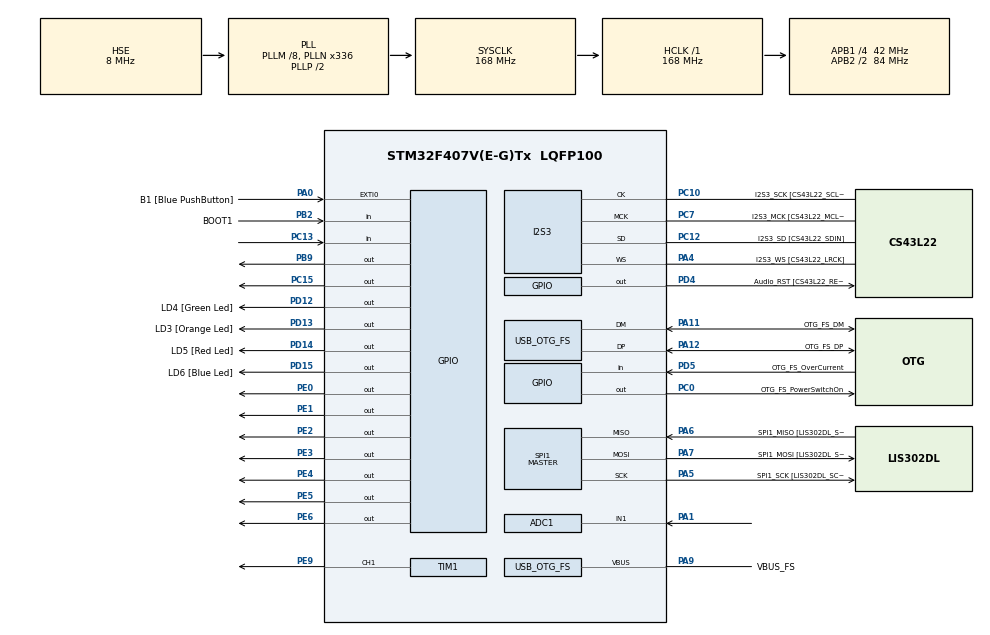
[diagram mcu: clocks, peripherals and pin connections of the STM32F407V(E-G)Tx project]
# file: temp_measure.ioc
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ADC1.Channel-1\#ChannelRegularConversion=ADC_CHANNEL_1
ADC1.NbrOfConversionFlag=1
ADC1.Rank-1\#ChannelRegularConversion=1
ADC1.SamplingTime-1\#ChannelRegularConversion=ADC_SAMPLETIME_3CYCLES
ADC1.master=1
I2S3.AudioFreq-Half_Duplex_Master=I2S_AUDIOFREQ_96K
I2S3.ErrorAudioFreq=-2.34 %
I2S3.ErrorAudioFreq-Half_Duplex_Master=0.8 %
I2S3.FullDuplexMode=I2S_FULLDUPLEXMODE_DISABLE
I2S3.Instance=SPI$Index
I2S3.RealAudioFreq=93.75 KHz
I2S3.RealAudioFreq-Half_Duplex_Master=96.774 KHz
I2S3.VirtualMode=I2S_MODE_MASTER
Mcu.Family=STM32F4
Mcu.Name=STM32F407V(E-G)Tx
Mcu.Package=LQFP100
NVIC.OTG_FS_IRQn=true\:0\:0\:false\:false\:true\:true\:true\:true
NVIC.PriorityGroup=NVIC_PRIORITYGROUP_0
PA0-WKUP.GPIO_Label=B1 [Blue PushButton]
PA0-WKUP.GPIO_ModeDefaultEXTI=GPIO_MODE_EVT_RISING
PA0-WKUP.GPIO_PuPd=GPIO_NOPULL
PA0-WKUP.Signal=GPXTI0
PA1.Signal=ADCx_IN1
PA10.GPIO_Label=OTG_FS_ID
PA10.GPIO_Mode=GPIO_MODE_AF_PP
PA10.GPIO_PuPd=GPIO_NOPULL
PA10.GPIO_Speed=GPIO_SPEED_FREQ_LOW
PA10.Signal=USB_OTG_FS_ID
PA11.GPIO_Label=OTG_FS_DM
PA11.GPIO_Mode=GPIO_MODE_AF_PP
PA11.GPIO_PuPd=GPIO_NOPULL
PA11.GPIO_Speed=GPIO_SPEED_FREQ_LOW
PA11.Mode=Host_Only
PA11.Signal=USB_OTG_FS_DM
PA12.GPIO_Label=OTG_FS_DP
PA12.GPIO_Mode=GPIO_MODE_AF_PP
PA12.GPIO_PuPd=GPIO_NOPULL
PA12.GPIO_Speed=GPIO_SPEED_FREQ_LOW
PA12.Mode=Host_Only
PA12.Signal=USB_OTG_FS_DP
PA13.GPIO_Label=SWDIO
PA13.Mode=Serial_Wire
PA13.Signal=SYS_JTMS-SWDIO
PA14.GPIO_Label=SWCLK
PA14.Mode=Serial_Wire
PA14.Signal=SYS_JTCK-SWCLK
PA4.GPIO_Label=I2S3_WS [CS43L22_LRCK]
PA4.GPIO_Mode=GPIO_MODE_AF_PP
PA4.GPIO_PuPd=GPIO_NOPULL
PA4.GPIO_Speed=GPIO_SPEED_FREQ_LOW
PA4.Mode=Half_Duplex_Master
PA4.Signal=I2S3_WS
PA5.GPIO_Label=SPI1_SCK [LIS302DL_SCL/SPC]
PA5.GPIO_Mode=GPIO_MODE_AF_PP
PA5.GPIO_PuPd=GPIO_NOPULL
PA5.GPIO_Speed=GPIO_SPEED_FREQ_LOW
PA5.Mode=Full_Duplex_Master
PA5.Signal=SPI1_SCK
PA6.GPIO_Label=SPI1_MISO [LIS302DL_SDO]
PA6.GPIO_Mode=GPIO_MODE_AF_PP
PA6.GPIO_PuPd=GPIO_NOPULL
PA6.GPIO_Speed=GPIO_SPEED_FREQ_LOW
PA6.Mode=Full_Duplex_Master
PA6.Signal=SPI1_MISO
PA7.GPIO_Label=SPI1_MOSI [LIS302DL_SDA/SDI/SDO]
PA7.GPIO_Mode=GPIO_MODE_AF_PP
PA7.GPIO_PuPd=GPIO_NOPULL
PA7.GPIO_Speed=GPIO_SPEED_FREQ_LOW
PA7.Mode=Full_Duplex_Master
PA7.Signal=SPI1_MOSI
PA9.GPIO_Label=VBUS_FS
PA9.GPIO_Mode=GPIO_MODE_INPUT
PA9.GPIO_PuPd=GPIO_NOPULL
PA9.Mode=Activate_VBUS
PA9.Signal=USB_OTG_FS_VBUS
PB10.GPIO_Label=CLK_IN [MP45DT02_CLK]
PB10.GPIO_Mode=GPIO_MODE_AF_PP
PB10.GPIO_PuPd=GPIO_NOPULL
PB10.GPIO_Speed=GPIO_SPEED_FREQ_LOW
PB10.Signal=I2S2_CK
PB2.GPIO_Label=BOOT1
PB2.GPIO_Mode=GPIO_MODE_INPUT
PB2.GPIO_PuPd=GPIO_NOPULL
PB2.Signal=GPIO_Input
PB3.GPIO_Label=SWO
PB3.Signal=SYS_JTDO-SWO
PB6.GPIO_Label=Audio_SCL [CS43L22_SCL]
PB6.GPIO_Mode=GPIO_MODE_AF_OD
PB6.GPIO_Pu=GPIO_PULLUP
PB6.GPIO_PuPd=GPIO_NOPULL
PB6.GPIO_Speed=GPIO_SPEED_FREQ_LOW
PB6.Signal=I2C1_SCL
PB9.Signal=GPIO_Output
PC0.GPIO_Label=OTG_FS_PowerSwitchOn
PC0.GPIO_PuPd=GPIO_NOPULL
PC0.GPIO_Speed=GPIO_SPEED_FREQ_LOW
PC0.PinState=GPIO_PIN_SET
PC0.Signal=GPIO_Output
PC10.GPIO_Label=I2S3_SCK [CS43L22_SCLK]
PC10.GPIO_Mode=GPIO_MODE_AF_PP
PC10.GPIO_PuPd=GPIO_NOPULL
PC10.GPIO_Speed=GPIO_SPEED_FREQ_LOW
PC10.Mode=Half_Duplex_Master
PC10.Signal=I2S3_CK
PC12.GPIO_Label=I2S3_SD [CS43L22_SDIN]
PC12.GPIO_Mode=GPIO_MODE_AF_PP
PC12.GPIO_PuPd=GPIO_NOPULL
PC12.GPIO_Speed=GPIO_SPEED_FREQ_LOW
PC12.Mode=Half_Duplex_Master
PC12.Signal=I2S3_SD
PC13-ANTI_TAMP.Signal=GPIO_Input
PC14-OSC32_IN.GPIO_Label=PC14-OSC32_IN
PC14-OSC32_IN.Signal=RCC_OSC32_IN
PC15-OSC32_OUT.Signal=GPIO_Output
PC3.GPIO_Label=PDM_OUT [MP45DT02_DOUT]
PC3.GPIO_Mode=GPIO_MODE_AF_PP
PC3.GPIO_PuPd=GPIO_NOPULL
PC3.GPIO_Speed=GPIO_SPEED_FREQ_LOW
PC3.Signal=I2S2_SD
PC7.GPIO_Label=I2S3_MCK [CS43L22_MCLK]
PC7.GPIO_Mode=GPIO_MODE_AF_PP
PC7.GPIO_PuPd=GPIO_NOPULL
PC7.GPIO_Speed=GPIO_SPEED_FREQ_LOW
PC7.Mode=Master_Clock_Activated
PC7.Signal=I2S3_MCK
PD12.GPIO_Label=LD4 [Green Led]
PD12.GPIO_PuPd=GPIO_NOPULL
PD12.GPIO_Speed=GPIO_SPEED_FREQ_LOW
PD12.Signal=GPIO_Output
PD13.GPIO_Label=LD3 [Orange Led]
PD13.GPIO_PuPd=GPIO_NOPULL
PD13.GPIO_Speed=GPIO_SPEED_FREQ_LOW
PD13.Signal=GPIO_Output
PD14.GPIO_Label=LD5 [Red Led]
PD14.GPIO_PuPd=GPIO_NOPULL
PD14.GPIO_Speed=GPIO_SPEED_FREQ_LOW
PD14.Signal=GPIO_Output
PD15.GPIO_Label=LD6 [Blue Led]
PD15.GPIO_PuPd=GPIO_NOPULL
PD15.GPIO_Speed=GPIO_SPEED_FREQ_LOW
PD15.Signal=GPIO_Output
PD4.GPIO_Label=Audio_RST [CS43L22_RESET]
PD4.GPIO_PuPd=GPIO_NOPULL
PD4.GPIO_Speed=GPIO_SPEED_FREQ_LOW
PD4.Signal=GPIO_Output
PD5.GPIO_Label=OTG_FS_OverCurrent
PD5.GPIO_Mode=GPIO_MODE_INPUT
PD5.GPIO_PuPd=GPIO_NOPULL
PD5.Signal=GPIO_Input
PE0.Signal=GPIO_Output
PE1.Signal=GPIO_Output
PE2.Signal=GPIO_Output
PE3.Signal=GPIO_Output
PE4.Signal=GPIO_Output
PE5.Signal=GPIO_Output
PE6.Signal=GPIO_Output
PE9.Signal=S_TIM1_CH1
PH0-OSC_IN.GPIO_Label=PH0-OSC_IN
PH0-OSC_IN.Mode=HSE-External-Oscillator
PH0-OSC_IN.Signal=RCC_OSC_IN
PH1-OSC_OUT.GPIO_Label=PH1-OSC_OUT
PH1-OSC_OUT.Mode=HSE-External-Oscillator
PH1-OSC_OUT.Signal=RCC_OSC_OUT
ProjectManager.HeapSize=0x200
ProjectManager.StackSize=0x400
ProjectManager.TargetToolchain=STM32CubeIDE
RCC.48MHZClocksFreq_Value=48000000
RCC.AHBFreq_Value=168000000
RCC.APB1CLKDivider=RCC_HCLK_DIV4
RCC.APB1Freq_Value=42000000
RCC.APB1TimFreq_Value=84000000
RCC.APB2CLKDivider=RCC_HCLK_DIV2
RCC.APB2Freq_Value=84000000
RCC.APB2TimFreq_Value=168000000
RCC.CortexFreq_Value=168000000
RCC.HCLKFreq_Value=168000000
RCC.HSE_VALUE=8000000
RCC.HSI_VALUE=16000000
RCC.PLLM=8
RCC.PLLN=336
RCC.PLLQ=7
RCC.SYSCLKFreq_VALUE=168000000
RCC.SYSCLKSource=RCC_SYSCLKSOURCE_PLLCLK
RCC.VCOOutputFreq_Value=336000000
SH.ADCx_IN1.0=ADC1_IN1,IN1
SH.S_TIM1_CH1.0=TIM1_CH1,PWM Generation1 CH1
SPI1.BaudRatePrescaler-Full_Duplex_Master=SPI_BAUDRATEPRESCALER_2
SPI1.CalculateBaudRate-Full_Duplex_Master=42.0 MBits/s
SPI1.Direction=SPI_DIRECTION_2LINES
SPI1.Mode=SPI_MODE_MASTER
SPI1.Mode-Full_Duplex_Master=SPI_MODE_MASTER
SPI1.VirtualType=VM_MASTER
TIM1.Channel-PWM\ Generation1\ CH1=TIM_CHANNEL_1
USB_HOST.BSP.number=1
USB_HOST.USBH_HandleTypeDef-CDC_FS=hUsbHostFS
USB_HOST.VirtualModeFS=Cdc
USB_HOST0.BSP.STBoard=false
USB_HOST0.BSP.api=Unknown
USB_HOST0.BSP.instance=PC0
USB_HOST0.BSP.ip=GPIO
USB_HOST0.BSP.mode=Output
USB_HOST0.BSP.name=Drive_VBUS_FS
USB_HOST0.BSP.solution=PC0
USB_OTG_FS.VirtualMode=Host_Only
USB_OTG_FS.phy_itface=HCD_PHY_EMBEDDED
VP_USB_HOST_VS_USB_HOST_CDC_FS.Mode=CDC_FS
board=STM32F407G-DISC1

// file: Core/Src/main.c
/* USER CODE BEGIN Header */
/**
  ******************************************************************************
  * @file           : main.c
  * @brief          : Main program body
  ******************************************************************************
  * @attention
  *
  * Copyright (c) 2023 STMicroelectronics.
  * All rights reserved.
  *
  * This software is licensed under terms that can be found in the LICENSE file
  * in the root directory of this software component.
  * If no LICENSE file comes with this software, it is provided AS-IS.
  *
  ******************************************************************************
  */
/* USER CODE END Header */
#include "main.h"
#include "usb_host.h"

ADC_HandleTypeDef hadc1;

I2S_HandleTypeDef hi2s3;

SPI_HandleTypeDef hspi1;

TIM_HandleTypeDef htim1;

void SystemClock_Config(void);
static void MX_GPIO_Init(void);
static void MX_I2S3_Init(void);
static void MX_SPI1_Init(void);
static void MX_ADC1_Init(void);
static void MX_TIM1_Init(void);
void MX_USB_HOST_Process(void);

/* USER CODE BEGIN PFP */
uint8_t Snumber[10] = { //segment number
        0x3f,  // 0
        0x06,  // 1 00000110
        0x5b,  // 2
        0x4f,  // 3 01001111
        0x66,  // 4
        0x6d,  // 5
        0x7d,  // 6 01111101
        0x07,  // 7 00000111
        0x7f,  // 8
        0x6f   // 9 // 01101111
};

/* USER CODE END PFP */

/* USER CODE BEGIN 0 */
float adc_val;
void Vread()
{
	HAL_ADC_Start(&hadc1);
	if( HAL_ADC_PollForConversion(&hadc1, 300)== HAL_OK )
		adc_val=HAL_ADC_GetValue(&hadc1);
	HAL_ADC_Stop(&hadc1);
	adc_val=3.3*(adc_val/4095);
}
void SSU(uint8_t number){
	HAL_GPIO_WritePin(GPIOE, GPIO_PIN_0, ((number>>0)&0x01));
	HAL_GPIO_WritePin(GPIOE, GPIO_PIN_1, ((number>>1)&0x01));
	HAL_GPIO_WritePin(GPIOE, GPIO_PIN_2, ((number>>2)&0x01));
	HAL_GPIO_WritePin(GPIOE, GPIO_PIN_3, ((number>>3)&0x01));
	HAL_GPIO_WritePin(GPIOE, GPIO_PIN_4, ((number>>4)&0x01));
	HAL_GPIO_WritePin(GPIOE, GPIO_PIN_5, ((number>>5)&0x01));
	HAL_GPIO_WritePin(GPIOE, GPIO_PIN_6, ((number>>6)&0x01));
}

/* USER CODE END 0 */

int main(void)
{
  /* USER CODE BEGIN 1 */
	float temp;
	int i, sw=0;

  /* USER CODE END 1 */

  /* MCU Configuration--------------------------------------------------------*/

  /* Reset of all peripherals, Initializes the Flash interface and the Systick. */
  HAL_Init();

  /* Configure the system clock */
  SystemClock_Config();

  /* Initialize all configured peripherals */
  MX_GPIO_Init();
  MX_I2S3_Init();
  MX_SPI1_Init();
  MX_USB_HOST_Init();
  MX_ADC1_Init();
  MX_TIM1_Init();

  /* Infinite loop */
  /* USER CODE BEGIN WHILE */
  while(1)
  {
	  if(HAL_GPIO_ReadPin(GPIOC, GPIO_PIN_13))
	  {
		  while(HAL_GPIO_ReadPin(GPIOC, GPIO_PIN_13));
			  sw=sw+1;
	  }
	  HAL_GPIO_WritePin(GPIOE, GPIO_PIN_0, GPIO_PIN_RESET);
	  HAL_GPIO_WritePin(GPIOE, GPIO_PIN_1, GPIO_PIN_RESET);
	  HAL_GPIO_WritePin(GPIOE, GPIO_PIN_2, GPIO_PIN_RESET);
	  HAL_GPIO_WritePin(GPIOE, GPIO_PIN_3, GPIO_PIN_RESET);
	  HAL_GPIO_WritePin(GPIOE, GPIO_PIN_4, GPIO_PIN_RESET);
	  HAL_GPIO_WritePin(GPIOE, GPIO_PIN_5, GPIO_PIN_RESET);
	  HAL_GPIO_WritePin(GPIOE, GPIO_PIN_6, GPIO_PIN_RESET);
	  HAL_GPIO_WritePin(GPIOC, GPIO_PIN_15, GPIO_PIN_RESET);
	  while (sw%2)
	    {
		  HAL_GPIO_WritePin(GPIOC, GPIO_PIN_15, GPIO_PIN_SET);
    /* USER CODE END WHILE */
    MX_USB_HOST_Process();

    /* USER CODE BEGIN 3 */
	  	  	  Vread();
	      	  HAL_Delay(250);
	      	  HAL_GPIO_WritePin(GPIOB,GPIO_PIN_9,GPIO_PIN_SET);
	      	  HAL_Delay(10);
	      	  HAL_GPIO_WritePin(GPIOB,GPIO_PIN_9,GPIO_PIN_RESET);
	      	  temp=adc_val*100;
	      	  i=temp/10;
	      	  SSU(Snumber[i]);
			  if(HAL_GPIO_ReadPin(GPIOC, GPIO_PIN_13))
			  {
				  while(HAL_GPIO_ReadPin(GPIOC, GPIO_PIN_13));
					  sw=sw+1;
			  }

	    }

  }

  /* USER CODE END 3 */
}

void SystemClock_Config(void)
{
  RCC_OscInitTypeDef RCC_OscInitStruct = {0};
  RCC_ClkInitTypeDef RCC_ClkInitStruct = {0};

  /** Configure the main internal regulator output voltage
  */
  __HAL_RCC_PWR_CLK_ENABLE();
  __HAL_PWR_VOLTAGESCALING_CONFIG(PWR_REGULATOR_VOLTAGE_SCALE1);

  /** Initializes the RCC Oscillators according to the specified parameters
  * in the RCC_OscInitTypeDef structure.
  */
  RCC_OscInitStruct.OscillatorType = RCC_OSCILLATORTYPE_HSE;
  RCC_OscInitStruct.HSEState = RCC_HSE_ON;
  RCC_OscInitStruct.PLL.PLLState = RCC_PLL_ON;
  RCC_OscInitStruct.PLL.PLLSource = RCC_PLLSOURCE_HSE;
  RCC_OscInitStruct.PLL.PLLM = 8;
  RCC_OscInitStruct.PLL.PLLN = 336;
  RCC_OscInitStruct.PLL.PLLP = RCC_PLLP_DIV2;
  RCC_OscInitStruct.PLL.PLLQ = 7;
  if (HAL_RCC_OscConfig(&RCC_OscInitStruct) != HAL_OK)
  {
    Error_Handler();
  }

  /** Initializes the CPU, AHB and APB buses clocks
  */
  RCC_ClkInitStruct.ClockType = RCC_CLOCKTYPE_HCLK|RCC_CLOCKTYPE_SYSCLK
                              |RCC_CLOCKTYPE_PCLK1|RCC_CLOCKTYPE_PCLK2;
  RCC_ClkInitStruct.SYSCLKSource = RCC_SYSCLKSOURCE_PLLCLK;
  RCC_ClkInitStruct.AHBCLKDivider = RCC_SYSCLK_DIV1;
  RCC_ClkInitStruct.APB1CLKDivider = RCC_HCLK_DIV4;
  RCC_ClkInitStruct.APB2CLKDivider = RCC_HCLK_DIV2;

  if (HAL_RCC_ClockConfig(&RCC_ClkInitStruct, FLASH_LATENCY_5) != HAL_OK)
  {
    Error_Handler();
  }
}

static void MX_ADC1_Init(void)
{

  ADC_ChannelConfTypeDef sConfig = {0};

  /** Configure the global features of the ADC (Clock, Resolution, Data Alignment and number of conversion)
  */
  hadc1.Instance = ADC1;
  hadc1.Init.ClockPrescaler = ADC_CLOCK_SYNC_PCLK_DIV4;
  hadc1.Init.Resolution = ADC_RESOLUTION_12B;
  hadc1.Init.ScanConvMode = DISABLE;
  hadc1.Init.ContinuousConvMode = DISABLE;
  hadc1.Init.DiscontinuousConvMode = DISABLE;
  hadc1.Init.ExternalTrigConvEdge = ADC_EXTERNALTRIGCONVEDGE_NONE;
  hadc1.Init.ExternalTrigConv = ADC_SOFTWARE_START;
  hadc1.Init.DataAlign = ADC_DATAALIGN_RIGHT;
  hadc1.Init.NbrOfConversion = 1;
  hadc1.Init.DMAContinuousRequests = DISABLE;
  hadc1.Init.EOCSelection = ADC_EOC_SINGLE_CONV;
  if (HAL_ADC_Init(&hadc1) != HAL_OK)
  {
    Error_Handler();
  }

  /** Configure for the selected ADC regular channel its corresponding rank in the sequencer and its sample time.
  */
  sConfig.Channel = ADC_CHANNEL_1;
  sConfig.Rank = 1;
  sConfig.SamplingTime = ADC_SAMPLETIME_3CYCLES;
  if (HAL_ADC_ConfigChannel(&hadc1, &sConfig) != HAL_OK)
  {
    Error_Handler();
  }

}

static void MX_I2S3_Init(void)
{

  hi2s3.Instance = SPI3;
  hi2s3.Init.Mode = I2S_MODE_MASTER_TX;
  hi2s3.Init.Standard = I2S_STANDARD_PHILIPS;
  hi2s3.Init.DataFormat = I2S_DATAFORMAT_16B;
  hi2s3.Init.MCLKOutput = I2S_MCLKOUTPUT_ENABLE;
  hi2s3.Init.AudioFreq = I2S_AUDIOFREQ_96K;
  hi2s3.Init.CPOL = I2S_CPOL_LOW;
  hi2s3.Init.ClockSource = I2S_CLOCK_PLL;
  hi2s3.Init.FullDuplexMode = I2S_FULLDUPLEXMODE_DISABLE;
  if (HAL_I2S_Init(&hi2s3) != HAL_OK)
  {
    Error_Handler();
  }

}

static void MX_SPI1_Init(void)
{

  /* SPI1 parameter configuration*/
  hspi1.Instance = SPI1;
  hspi1.Init.Mode = SPI_MODE_MASTER;
  hspi1.Init.Direction = SPI_DIRECTION_2LINES;
  hspi1.Init.DataSize = SPI_DATASIZE_8BIT;
  hspi1.Init.CLKPolarity = SPI_POLARITY_LOW;
  hspi1.Init.CLKPhase = SPI_PHASE_1EDGE;
  hspi1.Init.NSS = SPI_NSS_SOFT;
  hspi1.Init.BaudRatePrescaler = SPI_BAUDRATEPRESCALER_2;
  hspi1.Init.FirstBit = SPI_FIRSTBIT_MSB;
  hspi1.Init.TIMode = SPI_TIMODE_DISABLE;
  hspi1.Init.CRCCalculation = SPI_CRCCALCULATION_DISABLE;
  hspi1.Init.CRCPolynomial = 10;
  if (HAL_SPI_Init(&hspi1) != HAL_OK)
  {
    Error_Handler();
  }

}

static void MX_TIM1_Init(void)
{

  TIM_MasterConfigTypeDef sMasterConfig = {0};
  TIM_OC_InitTypeDef sConfigOC = {0};
  TIM_BreakDeadTimeConfigTypeDef sBreakDeadTimeConfig = {0};

  htim1.Instance = TIM1;
  htim1.Init.Prescaler = 0;
  htim1.Init.CounterMode = TIM_COUNTERMODE_UP;
  htim1.Init.Period = 65535;
  htim1.Init.ClockDivision = TIM_CLOCKDIVISION_DIV1;
  htim1.Init.RepetitionCounter = 0;
  htim1.Init.AutoReloadPreload = TIM_AUTORELOAD_PRELOAD_DISABLE;
  if (HAL_TIM_PWM_Init(&htim1) != HAL_OK)
  {
    Error_Handler();
  }
  sMasterConfig.MasterOutputTrigger = TIM_TRGO_RESET;
  sMasterConfig.MasterSlaveMode = TIM_MASTERSLAVEMODE_DISABLE;
  if (HAL_TIMEx_MasterConfigSynchronization(&htim1, &sMasterConfig) != HAL_OK)
  {
    Error_Handler();
  }
  sConfigOC.OCMode = TIM_OCMODE_PWM1;
  sConfigOC.Pulse = 0;
  sConfigOC.OCPolarity = TIM_OCPOLARITY_HIGH;
  sConfigOC.OCNPolarity = TIM_OCNPOLARITY_HIGH;
  sConfigOC.OCFastMode = TIM_OCFAST_DISABLE;
  sConfigOC.OCIdleState = TIM_OCIDLESTATE_RESET;
  sConfigOC.OCNIdleState = TIM_OCNIDLESTATE_RESET;
  if (HAL_TIM_PWM_ConfigChannel(&htim1, &sConfigOC, TIM_CHANNEL_1) != HAL_OK)
  {
    Error_Handler();
  }
  sBreakDeadTimeConfig.OffStateRunMode = TIM_OSSR_DISABLE;
  sBreakDeadTimeConfig.OffStateIDLEMode = TIM_OSSI_DISABLE;
  sBreakDeadTimeConfig.LockLevel = TIM_LOCKLEVEL_OFF;
  sBreakDeadTimeConfig.DeadTime = 0;
  sBreakDeadTimeConfig.BreakState = TIM_BREAK_DISABLE;
  sBreakDeadTimeConfig.BreakPolarity = TIM_BREAKPOLARITY_HIGH;
  sBreakDeadTimeConfig.AutomaticOutput = TIM_AUTOMATICOUTPUT_DISABLE;
  if (HAL_TIMEx_ConfigBreakDeadTime(&htim1, &sBreakDeadTimeConfig) != HAL_OK)
  {
    Error_Handler();
  }
  HAL_TIM_MspPostInit(&htim1);

}

static void MX_GPIO_Init(void)
{
  GPIO_InitTypeDef GPIO_InitStruct = {0};

  /* GPIO Ports Clock Enable */
  __HAL_RCC_GPIOE_CLK_ENABLE();
  __HAL_RCC_GPIOC_CLK_ENABLE();
  __HAL_RCC_GPIOH_CLK_ENABLE();
  __HAL_RCC_GPIOA_CLK_ENABLE();
  __HAL_RCC_GPIOB_CLK_ENABLE();
  __HAL_RCC_GPIOD_CLK_ENABLE();

  /*Configure GPIO pin Output Level */
  HAL_GPIO_WritePin(GPIOE, GPIO_PIN_2|GPIO_PIN_3|GPIO_PIN_4|GPIO_PIN_5
                          |GPIO_PIN_6|GPIO_PIN_0|GPIO_PIN_1, GPIO_PIN_RESET);

  /*Configure GPIO pin Output Level */
  HAL_GPIO_WritePin(GPIOC, GPIO_PIN_15, GPIO_PIN_RESET);

  /*Configure GPIO pin Output Level */
  HAL_GPIO_WritePin(OTG_FS_PowerSwitchOn_GPIO_Port, OTG_FS_PowerSwitchOn_Pin, GPIO_PIN_SET);

  /*Configure GPIO pin Output Level */
  HAL_GPIO_WritePin(GPIOD, LD4_Pin|LD3_Pin|LD5_Pin|LD6_Pin
                          |Audio_RST_Pin, GPIO_PIN_RESET);

  /*Configure GPIO pin Output Level */
  HAL_GPIO_WritePin(GPIOB, GPIO_PIN_9, GPIO_PIN_RESET);

  /*Configure GPIO pins : PE2 PE3 PE4 PE5
                           PE6 PE0 PE1 */
  GPIO_InitStruct.Pin = GPIO_PIN_2|GPIO_PIN_3|GPIO_PIN_4|GPIO_PIN_5
                          |GPIO_PIN_6|GPIO_PIN_0|GPIO_PIN_1;
  GPIO_InitStruct.Mode = GPIO_MODE_OUTPUT_PP;
  GPIO_InitStruct.Pull = GPIO_NOPULL;
  GPIO_InitStruct.Speed = GPIO_SPEED_FREQ_LOW;
  HAL_GPIO_Init(GPIOE, &GPIO_InitStruct);

  /*Configure GPIO pin : PC13 */
  GPIO_InitStruct.Pin = GPIO_PIN_13;
  GPIO_InitStruct.Mode = GPIO_MODE_INPUT;
  GPIO_InitStruct.Pull = GPIO_NOPULL;
  HAL_GPIO_Init(GPIOC, &GPIO_InitStruct);

  /*Configure GPIO pins : PC15 OTG_FS_PowerSwitchOn_Pin */
  GPIO_InitStruct.Pin = GPIO_PIN_15|OTG_FS_PowerSwitchOn_Pin;
  GPIO_InitStruct.Mode = GPIO_MODE_OUTPUT_PP;
  GPIO_InitStruct.Pull = GPIO_NOPULL;
  GPIO_InitStruct.Speed = GPIO_SPEED_FREQ_LOW;
  HAL_GPIO_Init(GPIOC, &GPIO_InitStruct);

  /*Configure GPIO pin : PDM_OUT_Pin */
  GPIO_InitStruct.Pin = PDM_OUT_Pin;
  GPIO_InitStruct.Mode = GPIO_MODE_AF_PP;
  GPIO_InitStruct.Pull = GPIO_NOPULL;
  GPIO_InitStruct.Speed = GPIO_SPEED_FREQ_LOW;
  GPIO_InitStruct.Alternate = GPIO_AF5_SPI2;
  HAL_GPIO_Init(PDM_OUT_GPIO_Port, &GPIO_InitStruct);

  /*Configure GPIO pin : B1_Pin */
  GPIO_InitStruct.Pin = B1_Pin;
  GPIO_InitStruct.Mode = GPIO_MODE_EVT_RISING;
  GPIO_InitStruct.Pull = GPIO_NOPULL;
  HAL_GPIO_Init(B1_GPIO_Port, &GPIO_InitStruct);

  /*Configure GPIO pin : BOOT1_Pin */
  GPIO_InitStruct.Pin = BOOT1_Pin;
  GPIO_InitStruct.Mode = GPIO_MODE_INPUT;
  GPIO_InitStruct.Pull = GPIO_NOPULL;
  HAL_GPIO_Init(BOOT1_GPIO_Port, &GPIO_InitStruct);

  /*Configure GPIO pin : CLK_IN_Pin */
  GPIO_InitStruct.Pin = CLK_IN_Pin;
  GPIO_InitStruct.Mode = GPIO_MODE_AF_PP;
  GPIO_InitStruct.Pull = GPIO_NOPULL;
  GPIO_InitStruct.Speed = GPIO_SPEED_FREQ_LOW;
  GPIO_InitStruct.Alternate = GPIO_AF5_SPI2;
  HAL_GPIO_Init(CLK_IN_GPIO_Port, &GPIO_InitStruct);

  /*Configure GPIO pins : LD4_Pin LD3_Pin LD5_Pin LD6_Pin
                           Audio_RST_Pin */
  GPIO_InitStruct.Pin = LD4_Pin|LD3_Pin|LD5_Pin|LD6_Pin
                          |Audio_RST_Pin;
  GPIO_InitStruct.Mode = GPIO_MODE_OUTPUT_PP;
  GPIO_InitStruct.Pull = GPIO_NOPULL;
  GPIO_InitStruct.Speed = GPIO_SPEED_FREQ_LOW;
  HAL_GPIO_Init(GPIOD, &GPIO_InitStruct);

  /*Configure GPIO pin : OTG_FS_OverCurrent_Pin */
  GPIO_InitStruct.Pin = OTG_FS_OverCurrent_Pin;
  GPIO_InitStruct.Mode = GPIO_MODE_INPUT;
  GPIO_InitStruct.Pull = GPIO_NOPULL;
  HAL_GPIO_Init(OTG_FS_OverCurrent_GPIO_Port, &GPIO_InitStruct);

  /*Configure GPIO pin : Audio_SCL_Pin */
  GPIO_InitStruct.Pin = Audio_SCL_Pin;
  GPIO_InitStruct.Mode = GPIO_MODE_AF_OD;
  GPIO_InitStruct.Pull = GPIO_PULLUP;
  GPIO_InitStruct.Speed = GPIO_SPEED_FREQ_LOW;
  GPIO_InitStruct.Alternate = GPIO_AF4_I2C1;
  HAL_GPIO_Init(Audio_SCL_GPIO_Port, &GPIO_InitStruct);

  /*Configure GPIO pin : PB9 */
  GPIO_InitStruct.Pin = GPIO_PIN_9;
  GPIO_InitStruct.Mode = GPIO_MODE_OUTPUT_PP;
  GPIO_InitStruct.Pull = GPIO_NOPULL;
  GPIO_InitStruct.Speed = GPIO_SPEED_FREQ_LOW;
  HAL_GPIO_Init(GPIOB, &GPIO_InitStruct);

}

void Error_Handler(void)
{
  __disable_irq();
  while (1)
  {
  }
}
